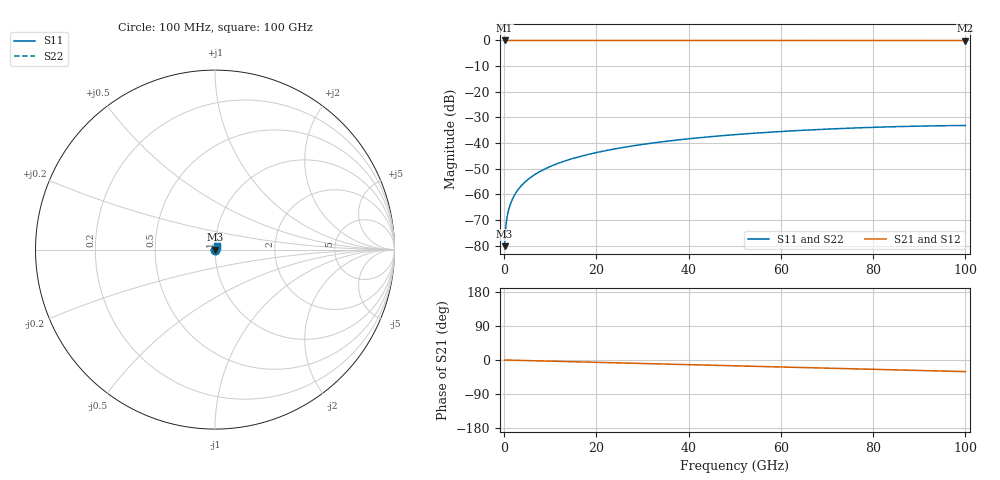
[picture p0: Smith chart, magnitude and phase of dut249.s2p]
! Touchstone file exported from HFSS 2026.1.0
!  File:  C:/ffzhzh/LocalFiles/Ansys_Project_Files/temp_train_TSV_249_1783508301_41296.aedt
!  Generated:  06:59:35 PM Jul  8, 2026
!  Design:  TSV
!  Project:  temp_train_TSV_249_1783508301_41296
! Variables:
!  h_bsmrdl = 2um
!  h_ox = 20um
!  h_rdl = 5um
!  h_sub = 56.64um
!  h_tmrdl = 5um
!  h_tsv = 56.64um
!  h_via = 3um
!  l_bsmrdl = 300um
!  l_sub = 424.22um
!  l_tmrdl = 200um
!  m_sub = 200um
!  pitch = 51.11um
!  r_tsv = 12.11um
!  s_tmrdl = 10um
!  w_bsmrdl = 18um
!  w_sub = 500um
!  w_tmrdl = 12um
!  x_tsv_center1 = 206um
!  x_tsv_center2 = 524um
!  x_tsv_center3 = 736um
!  x_tsv_center4 = 1054um
!  x_tsv_center5 = 1266um
!  x_tsv_center6 = 1584um
# GHz S MA R 50.000000
! Terminal data exported
! Port[1] = TSV1_1_T1
! Port[2] = TSV1_1_T2
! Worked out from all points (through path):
!   1000 points, 100 MHz to 100 GHz, reference 50 ohm
!   highest |S21| = 0.00 dB at 100 MHz (marker M1); lowest = 0.0 dB at 100 GHz (marker M2)
!   group delay of S21, straight-line fit = 852 fs
!   lowest |S11| = -80.2 dB at 100 MHz (marker M3), VSWR 1.00, Z = 50 + j0.0063 ohm
!   |S11| at or under -10 dB: start of sweep to end of sweep
!   |S22| runs from -80.2 to -33.1 dB; largest |S21 - S12| = 2.7e-15
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0.1  9.793e-05 40.0  0.9999 -0.0  0.9999 -0.0  9.793e-05 40.0
! Gamma 0 0 0 0
! Port Impedance 50 0 50 0
0.4  0.0002551 63.2  0.9999 -0.1  0.9999 -0.1  0.0002551 63.2
0.7  0.0003898 66.0  0.9998 -0.2  0.9998 -0.2  0.0003898 66.0
0.8  0.0004304 66.6  0.9998 -0.3  0.9998 -0.3  0.0004304 66.6
1  0.0005083 67.9  0.9998 -0.3  0.9998 -0.3  0.0005083 67.9
1.3  0.0006214 69.5  0.9998 -0.4  0.9998 -0.4  0.0006214 69.5
1.8  0.0008055 71.4  0.9998 -0.6  0.9998 -0.6  0.0008055 71.4
2.4  0.001021 72.9  0.9997 -0.7  0.9997 -0.7  0.001021 72.9
3.1  0.001265 74.0  0.9997 -1.0  0.9997 -1.0  0.001265 74.0
3.9  0.001535 74.8  0.9996 -1.2  0.9996 -1.2  0.001535 74.8
4.9  0.001866 75.6  0.9996 -1.5  0.9996 -1.5  0.001866 75.6
6.1  0.002256 76.3  0.9995 -1.9  0.9995 -1.9  0.002256 76.3
8.9  0.003151 77.0  0.9994 -2.7  0.9994 -2.7  0.003151 77.0
12.4  0.004245 77.1  0.9993 -3.8  0.9993 -3.8  0.004245 77.1
16.8  0.005582 76.7  0.9992 -5.2  0.9992 -5.2  0.005582 76.7
24.2  0.007765 75.7  0.999 -7.4  0.999 -7.4  0.007765 75.7
33.4  0.01036 73.7  0.9988 -10.2  0.9988 -10.2  0.01036 73.7
41.3  0.01246 71.8  0.9987 -12.6  0.9987 -12.6  0.01246 71.8
50.1  0.01462 69.5  0.9985 -15.3  0.9985 -15.3  0.01462 69.5
66.7  0.01813 64.9  0.9982 -20.4  0.9982 -20.4  0.01813 64.9
83.4  0.02072 60.0  0.9979 -25.6  0.9979 -25.6  0.02072 60.0
100  0.02202 55.1  0.9976 -30.7  0.9976 -30.7  0.02202 55.1
